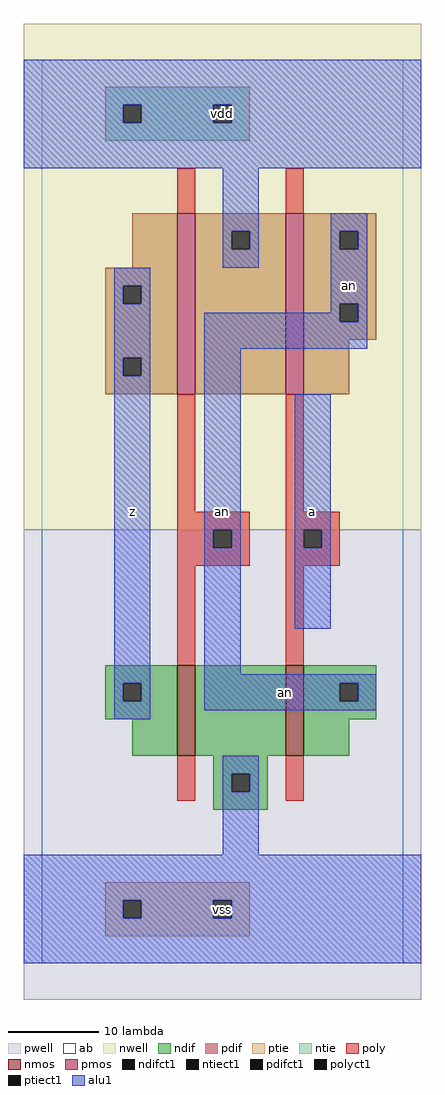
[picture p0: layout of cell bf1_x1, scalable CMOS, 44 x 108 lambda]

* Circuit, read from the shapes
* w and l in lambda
.subckt bf1_x1 a an vdd vss z
M1 vss an z vss nfet w=10 l=2
M2 an a vss vss nfet w=10 l=2
M3 vdd an z vdd pfet w=20 l=2
M4 an a vdd vdd pfet w=20 l=2
.ends

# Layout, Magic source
magic
tech scmos
<< ab >>
rect 0 0 40 100
<< nwell >>
rect -2 48 42 104
<< pwell >>
rect -2 -4 42 48
<< poly >>
rect 15 83 17 88
rect 27 83 29 88
rect 15 50 17 63
rect 27 50 29 63
rect 15 48 23 50
rect 15 46 19 48
rect 21 46 23 48
rect 15 44 23 46
rect 27 48 33 50
rect 27 46 29 48
rect 31 46 33 48
rect 27 44 33 46
rect 15 33 17 44
rect 27 33 29 44
rect 15 18 17 23
rect 27 18 29 23
<< ndif >>
rect 7 31 15 33
rect 7 29 9 31
rect 11 29 15 31
rect 7 27 15 29
rect 10 23 15 27
rect 17 23 27 33
rect 29 31 37 33
rect 29 29 33 31
rect 35 29 37 31
rect 29 27 37 29
rect 29 23 34 27
rect 19 21 25 23
rect 19 19 21 21
rect 23 19 25 21
rect 19 17 25 19
<< pdif >>
rect 10 77 15 83
rect 7 75 15 77
rect 7 73 9 75
rect 11 73 15 75
rect 7 67 15 73
rect 7 65 9 67
rect 11 65 15 67
rect 7 63 15 65
rect 17 81 27 83
rect 17 79 21 81
rect 23 79 27 81
rect 17 63 27 79
rect 29 81 37 83
rect 29 79 33 81
rect 35 79 37 81
rect 29 73 37 79
rect 29 71 33 73
rect 35 71 37 73
rect 29 69 37 71
rect 29 63 34 69
<< alu1 >>
rect -2 95 42 100
rect -2 93 9 95
rect 11 93 19 95
rect 21 93 42 95
rect -2 88 42 93
rect 20 81 24 88
rect 20 79 21 81
rect 23 79 24 81
rect 20 77 24 79
rect 32 81 36 83
rect 32 79 33 81
rect 35 79 36 81
rect 8 75 12 77
rect 8 73 9 75
rect 11 73 12 75
rect 8 67 12 73
rect 32 73 36 79
rect 32 72 33 73
rect 8 65 9 67
rect 11 65 12 67
rect 8 31 12 65
rect 8 29 9 31
rect 11 29 12 31
rect 8 27 12 29
rect 18 71 33 72
rect 35 71 36 73
rect 18 68 36 71
rect 18 48 22 68
rect 18 46 19 48
rect 21 46 22 48
rect 18 32 22 46
rect 28 48 32 63
rect 28 46 29 48
rect 31 46 32 48
rect 28 37 32 46
rect 18 31 37 32
rect 18 29 33 31
rect 35 29 37 31
rect 18 28 37 29
rect 20 21 24 23
rect 20 19 21 21
rect 23 19 24 21
rect 20 12 24 19
rect -2 7 42 12
rect -2 5 9 7
rect 11 5 19 7
rect 21 5 42 7
rect -2 0 42 5
<< ptie >>
rect 7 7 23 9
rect 7 5 9 7
rect 11 5 19 7
rect 21 5 23 7
rect 7 3 23 5
<< ntie >>
rect 7 95 23 97
rect 7 93 9 95
rect 11 93 19 95
rect 21 93 23 95
rect 7 91 23 93
<< nmos >>
rect 15 23 17 33
rect 27 23 29 33
<< pmos >>
rect 15 63 17 83
rect 27 63 29 83
<< polyct1 >>
rect 19 46 21 48
rect 29 46 31 48
<< ndifct1 >>
rect 9 29 11 31
rect 33 29 35 31
rect 21 19 23 21
<< ntiect1 >>
rect 9 93 11 95
rect 19 93 21 95
<< ptiect1 >>
rect 9 5 11 7
rect 19 5 21 7
<< pdifct1 >>
rect 9 73 11 75
rect 9 65 11 67
rect 21 79 23 81
rect 33 79 35 81
rect 33 71 35 73
<< labels >>
rlabel alu1 10 50 10 50 6 z
rlabel ptiect1 20 6 20 6 6 vss
rlabel alu1 20 50 20 50 6 an
rlabel ntiect1 20 94 20 94 6 vdd
rlabel alu1 27 30 27 30 6 an
rlabel alu1 30 50 30 50 6 a
rlabel alu1 34 75 34 75 6 an
<< end >>
